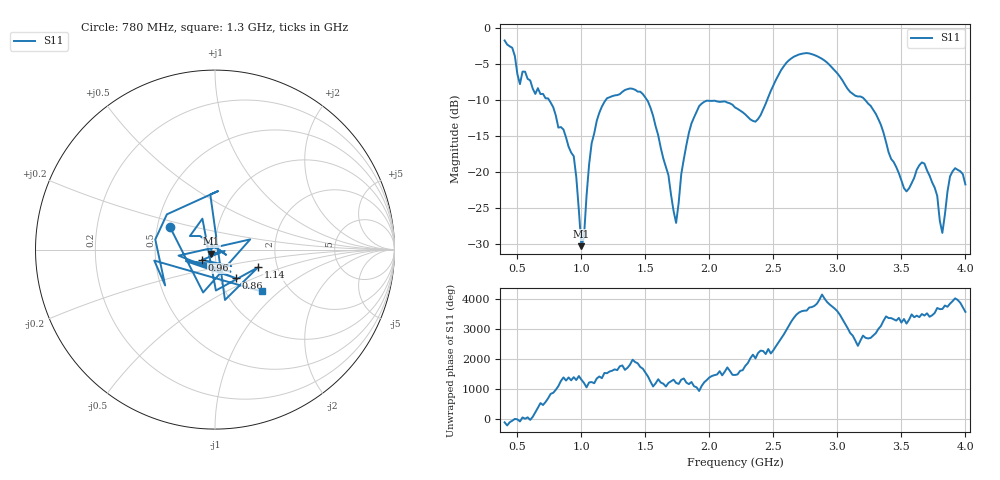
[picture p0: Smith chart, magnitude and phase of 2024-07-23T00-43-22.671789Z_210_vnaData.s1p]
!Created with skrf (http://scikit-rf.org).
# Hz S RI R 50.0
!freq ReS11 ImS11
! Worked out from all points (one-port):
!   181 points, 400 MHz to 4 GHz, reference 50 ohm
!   lowest |S11| = -30.3 dB at 1 GHz (marker M1), VSWR 1.06, Z = 48 - j2.24 ohm
!   |S11| at or under -10 dB: 748.8 MHz to 1.189 GHz (440 MHz wide, 45.4 % of centre); 1.514 GHz to 2.45 GHz (936.2 MHz wide, 47.2 % of centre); 3.219 GHz to end of sweep
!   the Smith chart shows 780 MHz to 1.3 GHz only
!   S11 on the Smith chart (normalised r, x): 780 MHz: 0.58, +0.16; 860 MHz: 1.19, -0.40; 960 MHz: 0.86, -0.10; 1.14 GHz: 1.59, -0.34; 1.3 GHz: 1.46, -0.77
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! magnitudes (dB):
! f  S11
! 400 MHz  -1.7
! 520 MHz  -7.8
! 560 MHz  -6.0
! 780 MHz  -11.0
! 860 MHz  -14.1
! 960 MHz  -20.7
! 1 GHz  -30.3
! 1.02 GHz  -29.0
! 1.08 GHz  -16.0
! 1.14 GHz  -11.7
! 1.3 GHz  -9.1
! 1.52 GHz  -10.2
! 1.74 GHz  -27.0
! 1.76 GHz  -24.2
! 1.84 GHz  -14.5
! 1.92 GHz  -10.8
! 2.2 GHz  -11.0
! 2.36 GHz  -13.0
! 2.66 GHz  -3.9
! 2.88 GHz  -4.2
! 3.1 GHz  -8.8
! 3.3 GHz  -11.9
! 3.56 GHz  -22.2
! 3.68 GHz  -18.8
! 3.78 GHz  -23.3
! 3.82 GHz  -28.4
! 3.88 GHz  -20.6
! 4 GHz  -21.7
